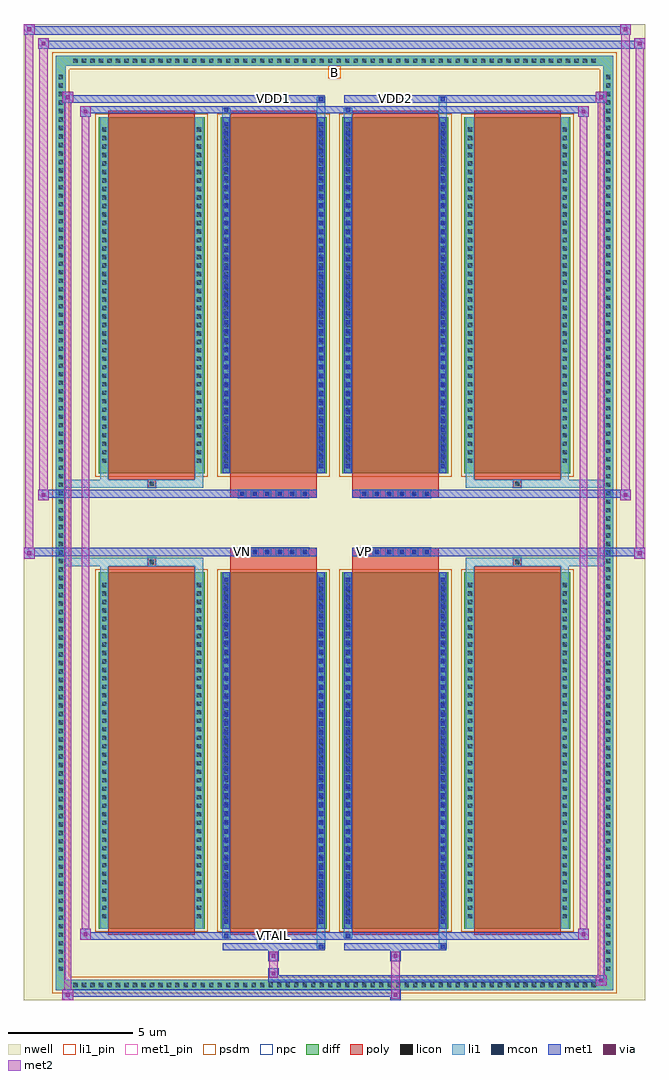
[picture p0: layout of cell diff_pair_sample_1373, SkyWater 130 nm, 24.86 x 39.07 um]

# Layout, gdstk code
import gdstk
lib = gdstk.Library(unit=1e-6, precision=5e-09)
def R(c, l, rs):  # rectangles x0, y0, x1, y1
    for r in rs: c.add(gdstk.rectangle(r[:2], r[2:], *l))
def A(c, l, x, y, w, h, nx, ny, dx, dy):  # array of equal rectangles
    R(c, l, [(x+i*dx, y+j*dy, x+i*dx+w, y+j*dy+h) for i in range(nx) for j in range(ny)])
def P(c, l, *ps):  # polygons
    for p in ps: c.add(gdstk.Polygon(p, *l))
nwell = (64, 20)
diff = (65, 20)
poly = (66, 20)
licon = (66, 44)
li1_pin = (67, 16)
li1 = (67, 20)
mcon = (67, 44)
met1_pin = (68, 16)
met1 = (68, 20)
via = (68, 44)
met2 = (69, 20)
psdm = (94, 20)
npc = (95, 20)

diff_pair_sample_1373 = lib.new_cell('diff_pair_sample_1373')
R(diff_pair_sample_1373, nwell, [(-12.43,-19.1,12.43,19.97), (-9.75,-17.29,-0.01,-0.805), (0.01,-17.29,9.75,-0.805), (-9.75,0.805,-0.01,17.29), (0.01,0.805,9.75,17.29)])
A(diff_pair_sample_1373, diff, -10.575, -18.7, 0.41, 0.41, 62, 2, 0.34, 36.99)
A(diff_pair_sample_1373, diff, -11.16, -18.055, 0.41, 0.41, 1, 106, 0, 0.34)
A(diff_pair_sample_1373, diff, 10.75, -18.055, 0.41, 0.41, 1, 106, 0, 0.34)
A(diff_pair_sample_1373, diff, -9.44, -16.245, 4.24, 14.26, 4, 2, 4.88, 18.23)
R(diff_pair_sample_1373, diff, [(-10.575,-18.7,10.575,-18.29), (-11.16,-18.055,-10.75,18.055), (10.75,-18.055,11.16,18.055), (-10.575,18.29,10.575,18.7)])
P(diff_pair_sample_1373, diff, [(11.16,18.7),(-11.16,18.7),(-11.16,-18.29),(-10.75,-18.29),(-10.75,18.29),(10.75,18.29),(10.75,-18.29),(-10.75,-18.29),(-11.16,-18.29),(-11.16,-18.7),(11.16,-18.7)])
A(diff_pair_sample_1373, poly, -9.05, -16.495, 3.46, 14.76, 4, 2, 4.88, 18.23)
A(diff_pair_sample_1373, poly, -3.855, -1.335, 0.33, 0.33, 6, 2, 0.5, 2.34)
A(diff_pair_sample_1373, poly, 1.025, -1.335, 0.33, 0.33, 6, 2, 0.5, 2.34)
R(diff_pair_sample_1373, poly, [(-7.485,-1.735,-7.155,-1.405), (-7.485,-1.735,-7.155,-1.405), (-4.17,-1.735,-0.71,-1.335), (0.71,-1.735,4.17,-1.335), (7.155,-1.735,7.485,-1.405), (7.155,-1.735,7.485,-1.405), (-4.17,-1.335,-0.71,-1.005), (0.71,-1.335,4.17,-1.005), (-4.17,1.005,-0.71,1.335), (0.71,1.005,4.17,1.335), (-4.17,1.335,-0.71,1.735), (0.71,1.335,4.17,1.735), (-7.485,1.405,-7.155,1.735), (-7.485,1.405,-7.155,1.735), (7.155,1.405,7.485,1.735), (7.155,1.405,7.485,1.735)])
A(diff_pair_sample_1373, licon, -10.455, -18.58, 0.17, 0.17, 62, 2, 0.34, 36.99)
A(diff_pair_sample_1373, licon, -11.04, -17.935, 0.17, 0.17, 1, 106, 0, 0.34)
A(diff_pair_sample_1373, licon, 10.87, -17.935, 0.17, 0.17, 1, 106, 0, 0.34)
A(diff_pair_sample_1373, licon, -9.3, -15.83, 0.17, 0.17, 1, 40, 0, 0.34)
A(diff_pair_sample_1373, licon, -5.51, -15.83, 0.17, 0.17, 1, 40, 0, 0.34)
A(diff_pair_sample_1373, licon, -4.42, -15.83, 0.17, 0.17, 1, 40, 0, 0.34)
A(diff_pair_sample_1373, licon, -0.63, -15.83, 0.17, 0.17, 1, 40, 0, 0.34)
A(diff_pair_sample_1373, licon, 0.46, -15.83, 0.17, 0.17, 1, 40, 0, 0.34)
A(diff_pair_sample_1373, licon, 4.25, -15.83, 0.17, 0.17, 1, 40, 0, 0.34)
A(diff_pair_sample_1373, licon, 5.34, -15.83, 0.17, 0.17, 1, 40, 0, 0.34)
A(diff_pair_sample_1373, licon, 9.13, -15.83, 0.17, 0.17, 1, 40, 0, 0.34)
A(diff_pair_sample_1373, licon, -3.775, -1.255, 0.17, 0.17, 6, 2, 0.5, 2.34)
A(diff_pair_sample_1373, licon, 1.105, -1.255, 0.17, 0.17, 6, 2, 0.5, 2.34)
A(diff_pair_sample_1373, licon, -9.3, 2.4, 0.17, 0.17, 1, 40, 0, 0.34)
A(diff_pair_sample_1373, licon, -5.51, 2.4, 0.17, 0.17, 1, 40, 0, 0.34)
A(diff_pair_sample_1373, licon, -4.42, 2.4, 0.17, 0.17, 1, 40, 0, 0.34)
A(diff_pair_sample_1373, licon, -0.63, 2.4, 0.17, 0.17, 1, 40, 0, 0.34)
A(diff_pair_sample_1373, licon, 0.46, 2.4, 0.17, 0.17, 1, 40, 0, 0.34)
A(diff_pair_sample_1373, licon, 4.25, 2.4, 0.17, 0.17, 1, 40, 0, 0.34)
A(diff_pair_sample_1373, licon, 5.34, 2.4, 0.17, 0.17, 1, 40, 0, 0.34)
A(diff_pair_sample_1373, licon, 9.13, 2.4, 0.17, 0.17, 1, 40, 0, 0.34)
R(diff_pair_sample_1373, licon, [(-7.405,-1.655,-7.235,-1.485), (7.235,-1.655,7.405,-1.485), (-7.405,1.485,-7.235,1.655), (7.235,1.485,7.405,1.655)])
R(diff_pair_sample_1373, li1_pin, [(-0.25,17.79,0.25,18.29)])
A(diff_pair_sample_1373, li1, -10.535, -18.66, 0.33, 0.33, 62, 2, 0.34, 36.99)
A(diff_pair_sample_1373, li1, -11.12, -18.015, 0.33, 0.33, 1, 106, 0, 0.34)
A(diff_pair_sample_1373, li1, 10.79, -18.015, 0.33, 0.33, 1, 106, 0, 0.34)
A(diff_pair_sample_1373, li1, -4.42, -16.04, 0.17, 0.17, 1, 39, 0, 0.36)
A(diff_pair_sample_1373, li1, -0.63, -16.04, 0.17, 0.17, 1, 39, 0, 0.36)
A(diff_pair_sample_1373, li1, 0.46, -16.04, 0.17, 0.17, 1, 39, 0, 0.36)
A(diff_pair_sample_1373, li1, 4.25, -16.04, 0.17, 0.17, 1, 39, 0, 0.36)
A(diff_pair_sample_1373, li1, -9.38, -15.91, 0.33, 0.33, 1, 40, 0, 0.34)
A(diff_pair_sample_1373, li1, -5.59, -15.91, 0.33, 0.33, 1, 40, 0, 0.34)
A(diff_pair_sample_1373, li1, -4.5, -15.91, 0.33, 0.33, 1, 40, 0, 0.34)
A(diff_pair_sample_1373, li1, -0.71, -15.91, 0.33, 0.33, 1, 40, 0, 0.34)
A(diff_pair_sample_1373, li1, 0.38, -15.91, 0.33, 0.33, 1, 40, 0, 0.34)
A(diff_pair_sample_1373, li1, 4.17, -15.91, 0.33, 0.33, 1, 40, 0, 0.34)
A(diff_pair_sample_1373, li1, 5.26, -15.91, 0.33, 0.33, 1, 40, 0, 0.34)
A(diff_pair_sample_1373, li1, 9.05, -15.91, 0.33, 0.33, 1, 40, 0, 0.34)
A(diff_pair_sample_1373, li1, -3.855, -1.335, 0.33, 0.33, 6, 2, 0.5, 2.34)
A(diff_pair_sample_1373, li1, 1.025, -1.335, 0.33, 0.33, 6, 2, 0.5, 2.34)
A(diff_pair_sample_1373, li1, -4.42, 2.19, 0.17, 0.17, 1, 39, 0, 0.36)
A(diff_pair_sample_1373, li1, -0.63, 2.19, 0.17, 0.17, 1, 39, 0, 0.36)
A(diff_pair_sample_1373, li1, 0.46, 2.19, 0.17, 0.17, 1, 39, 0, 0.36)
A(diff_pair_sample_1373, li1, 4.25, 2.19, 0.17, 0.17, 1, 39, 0, 0.36)
A(diff_pair_sample_1373, li1, -9.38, 2.32, 0.33, 0.33, 1, 40, 0, 0.34)
A(diff_pair_sample_1373, li1, -5.59, 2.32, 0.33, 0.33, 1, 40, 0, 0.34)
A(diff_pair_sample_1373, li1, -4.5, 2.32, 0.33, 0.33, 1, 40, 0, 0.34)
A(diff_pair_sample_1373, li1, -0.71, 2.32, 0.33, 0.33, 1, 40, 0, 0.34)
A(diff_pair_sample_1373, li1, 0.38, 2.32, 0.33, 0.33, 1, 40, 0, 0.34)
A(diff_pair_sample_1373, li1, 4.17, 2.32, 0.33, 0.33, 1, 40, 0, 0.34)
A(diff_pair_sample_1373, li1, 5.26, 2.32, 0.33, 0.33, 1, 40, 0, 0.34)
A(diff_pair_sample_1373, li1, 9.05, 2.32, 0.33, 0.33, 1, 40, 0, 0.34)
R(diff_pair_sample_1373, li1, [(-11.16,-18.7,-10.75,-18.29), (-11.16,-18.7,-10.75,-18.29), (-10.75,-18.7,10.75,-18.29), (10.75,-18.7,11.16,-18.29), (10.75,-18.7,11.16,-18.29), (-11.16,-18.29,-10.75,18.29), (10.75,-18.29,11.16,18.29), (-0.71,-17.05,-0.38,-16.245), (-0.63,-17.05,-0.46,-16.88), (4.17,-17.05,4.5,-16.245), (4.25,-17.05,4.42,-16.88), (-4.5,-16.62,-4.17,-16.245), (-4.42,-16.62,-4.25,-16.45), (0.38,-16.62,0.71,-16.245), (0.46,-16.62,0.63,-16.45), (-9.38,-16.245,-9.05,-1.985), (-5.59,-16.245,-5.26,-1.985), (-4.5,-16.245,-4.17,-1.985), (-0.71,-16.245,-0.38,-1.985), (0.38,-16.245,0.71,-1.985), (4.17,-16.245,4.5,-1.985), (5.26,-16.245,5.59,-1.985), (9.05,-16.245,9.38,-1.985), (-4.42,-16.04,-4.25,-2.19), (-0.63,-16.04,-0.46,-2.19), (0.46,-16.04,0.63,-2.19), (4.25,-16.04,4.42,-2.19), (-9.38,-1.985,-9.05,-1.405), (-5.59,-1.985,-5.26,-1.405), (5.26,-1.985,5.59,-1.405), (9.05,-1.985,9.38,-1.405), (-11.16,-1.735,-7.485,-1.405), (-9.38,-1.735,-7.485,-1.405), (-7.485,-1.735,-7.155,-1.405), (-7.155,-1.735,-5.26,-1.405), (5.26,-1.735,7.155,-1.405), (7.155,-1.735,7.485,-1.405), (7.155,-1.735,11.16,-1.405), (7.485,-1.735,9.38,-1.405), (-11.16,1.405,-7.485,1.735), (-9.38,1.405,-7.485,1.735), (-9.38,1.405,-9.05,1.985), (-7.485,1.405,-7.155,1.735), (-7.155,1.405,-5.26,1.735), (-5.59,1.405,-5.26,1.985), (5.26,1.405,7.155,1.735), (5.26,1.405,5.59,1.985), (7.155,1.405,7.485,1.735), (7.155,1.405,11.16,1.735), (7.485,1.405,9.38,1.735), (9.05,1.405,9.38,1.985), (-9.38,1.985,-9.05,16.245), (-5.59,1.985,-5.26,16.245), (-4.5,1.985,-4.17,16.245), (-0.71,1.985,-0.38,16.245), (0.38,1.985,0.71,16.245), (4.17,1.985,4.5,16.245), (5.26,1.985,5.59,16.245), (9.05,1.985,9.38,16.245), (-4.42,2.19,-4.25,16.04), (-0.63,2.19,-0.46,16.04), (0.46,2.19,0.63,16.04), (4.25,2.19,4.42,16.04), (-4.5,16.245,-4.17,16.62), (-0.71,16.245,-0.38,17.05), (0.38,16.245,0.71,16.62), (4.17,16.245,4.5,17.05), (-4.42,16.45,-4.25,16.62), (0.46,16.45,0.63,16.62), (-0.63,16.88,-0.46,17.05), (4.25,16.88,4.42,17.05), (-11.16,18.29,-10.75,18.7), (-11.16,18.29,-10.75,18.7), (-10.75,18.29,10.75,18.7), (10.75,18.29,11.16,18.7), (10.75,18.29,11.16,18.7)])
A(diff_pair_sample_1373, mcon, -4.42, -16.04, 0.17, 0.17, 1, 39, 0, 0.36)
A(diff_pair_sample_1373, mcon, -0.63, -16.04, 0.17, 0.17, 1, 39, 0, 0.36)
A(diff_pair_sample_1373, mcon, 0.46, -16.04, 0.17, 0.17, 1, 39, 0, 0.36)
A(diff_pair_sample_1373, mcon, 4.25, -16.04, 0.17, 0.17, 1, 39, 0, 0.36)
A(diff_pair_sample_1373, mcon, -3.775, -1.255, 0.17, 0.17, 6, 2, 0.5, 2.34)
A(diff_pair_sample_1373, mcon, 1.105, -1.255, 0.17, 0.17, 6, 2, 0.5, 2.34)
A(diff_pair_sample_1373, mcon, -4.42, 2.19, 0.17, 0.17, 1, 39, 0, 0.36)
A(diff_pair_sample_1373, mcon, -0.63, 2.19, 0.17, 0.17, 1, 39, 0, 0.36)
A(diff_pair_sample_1373, mcon, 0.46, 2.19, 0.17, 0.17, 1, 39, 0, 0.36)
A(diff_pair_sample_1373, mcon, 4.25, 2.19, 0.17, 0.17, 1, 39, 0, 0.36)
R(diff_pair_sample_1373, mcon, [(-0.63,-17.05,-0.46,-16.88), (4.25,-17.05,4.42,-16.88), (-4.42,-16.62,-4.25,-16.45), (0.46,-16.62,0.63,-16.45), (-4.42,16.45,-4.25,16.62), (0.46,16.45,0.63,16.62), (-0.63,16.88,-0.46,17.05), (4.25,16.88,4.42,17.05)])
R(diff_pair_sample_1373, met1_pin, [(-2.575,-16.66,-2.305,-16.39), (-3.825,-1.295,-3.555,-1.025), (1.055,-1.295,1.325,-1.025), (-2.575,16.84,-2.305,17.11), (2.305,16.84,2.575,17.11)])
A(diff_pair_sample_1373, met1, -4.48, -16.1, 0.29, 0.29, 1, 39, 0, 0.36)
A(diff_pair_sample_1373, met1, -0.69, -16.1, 0.29, 0.29, 1, 39, 0, 0.36)
A(diff_pair_sample_1373, met1, 0.4, -16.1, 0.29, 0.29, 1, 39, 0, 0.36)
A(diff_pair_sample_1373, met1, 4.19, -16.1, 0.29, 0.29, 1, 39, 0, 0.36)
A(diff_pair_sample_1373, met1, -3.835, -1.315, 0.29, 0.29, 6, 2, 0.5, 2.34)
A(diff_pair_sample_1373, met1, 1.045, -1.315, 0.29, 0.29, 6, 2, 0.5, 2.34)
A(diff_pair_sample_1373, met1, -4.48, 2.13, 0.29, 0.29, 1, 39, 0, 0.36)
A(diff_pair_sample_1373, met1, -0.69, 2.13, 0.29, 0.29, 1, 39, 0, 0.36)
A(diff_pair_sample_1373, met1, 0.4, 2.13, 0.29, 0.29, 1, 39, 0, 0.36)
A(diff_pair_sample_1373, met1, 4.19, 2.13, 0.29, 0.29, 1, 39, 0, 0.36)
R(diff_pair_sample_1373, met1, [(-10.89,-19.1,-10.46,-18.67), (2.225,-19.1,2.655,-18.67), (-10.89,-18.96,2.655,-18.67), (10.46,-18.53,10.89,-18.1), (-2.655,-18.39,10.89,-18.1), (-2.655,-18.25,-2.225,-17.82), (-2.655,-17.54,-2.225,-17.11), (2.225,-17.54,2.655,-17.11), (-4.48,-17.11,-0.4,-16.82), (-0.69,-17.11,-0.4,-16.82), (0.4,-17.11,4.48,-16.82), (4.19,-17.11,4.48,-16.82), (-10.18,-16.68,-9.75,-16.25), (-10.18,-16.68,-4.48,-16.39), (-4.48,-16.68,-4.19,-16.39), (-4.48,-16.68,-0.4,-16.39), (-0.4,-16.68,0.4,-16.39), (0.4,-16.68,0.69,-16.39), (0.4,-16.68,4.48,-16.39), (4.48,-16.68,10.18,-16.39), (9.75,-16.68,10.18,-16.25), (-4.48,-16.245,-4.19,-1.985), (-0.69,-16.245,-0.4,-1.985), (0.4,-16.245,0.69,-1.985), (4.19,-16.245,4.48,-1.985), (-12.43,-1.435,-12,-1.005), (12,-1.435,12.43,-1.005), (-12.43,-1.335,-0.71,-1.005), (-4.17,-1.335,-0.71,-1.005), (0.71,-1.335,4.17,-1.005), (0.71,-1.335,12.43,-1.005), (-11.86,0.905,-11.43,1.335), (11.43,0.905,11.86,1.335), (-11.86,1.005,-4.17,1.335), (-4.17,1.005,-0.71,1.335), (0.71,1.005,4.17,1.335), (4.17,1.005,11.86,1.335), (-4.48,1.985,-4.19,16.245), (-0.69,1.985,-0.4,16.245), (0.4,1.985,0.69,16.245), (4.19,1.985,4.48,16.245), (-10.18,16.25,-9.75,16.68), (9.75,16.25,10.18,16.68), (-10.18,16.39,-4.48,16.68), (-4.48,16.39,-4.19,16.68), (-4.48,16.39,-0.4,16.68), (-0.4,16.39,0.4,16.68), (0.4,16.39,0.69,16.68), (0.4,16.39,4.48,16.68), (4.48,16.39,10.18,16.68), (-10.89,16.82,-10.46,17.25), (-10.89,16.82,-4.48,17.11), (-4.48,16.82,-0.4,17.11), (-0.69,16.82,-0.4,17.11), (0.4,16.82,4.48,17.11), (4.19,16.82,4.48,17.11), (4.48,16.82,10.89,17.11), (10.46,16.82,10.89,17.25), (-11.86,18.97,-11.43,19.4), (-11.86,18.97,-9.75,19.3), (-9.75,18.97,9.75,19.3), (9.75,18.97,12.43,19.3), (12,18.97,12.43,19.4), (-12.43,19.54,-12,19.97), (-12.43,19.54,-9.75,19.87), (-9.75,19.54,9.75,19.87), (9.75,19.54,11.86,19.87), (11.43,19.54,11.86,19.97)])
R(diff_pair_sample_1373, via, [(-10.75,-18.96,-10.6,-18.81), (2.365,-18.96,2.515,-18.81), (10.6,-18.39,10.75,-18.24), (-2.515,-18.11,-2.365,-17.96), (-2.515,-17.4,-2.365,-17.25), (2.365,-17.4,2.515,-17.25), (-10.04,-16.54,-9.89,-16.39), (9.89,-16.54,10.04,-16.39), (-12.29,-1.295,-12.14,-1.145), (12.14,-1.295,12.29,-1.145), (-11.72,1.045,-11.57,1.195), (11.57,1.045,11.72,1.195), (-10.04,16.39,-9.89,16.54), (9.89,16.39,10.04,16.54), (-10.75,16.96,-10.6,17.11), (10.6,16.96,10.75,17.11), (-11.72,19.11,-11.57,19.26), (12.14,19.11,12.29,19.26), (-12.29,19.68,-12.14,19.83), (11.57,19.68,11.72,19.83)])
R(diff_pair_sample_1373, met2, [(-10.89,-19.1,-10.46,-18.67), (-10.82,-19.1,-10.53,17.25), (-10.53,-19.1,-10.46,-18.67), (-10.84,-19.05,-10.51,-18.72), (2.275,-19.05,2.605,-18.72), (2.275,-18.72,2.605,-17.49), (10.46,-18.53,10.89,-18.1), (10.53,-18.53,10.82,17.25), (10.82,-18.53,10.89,-18.1), (10.51,-18.48,10.84,-18.15), (-2.605,-18.2,-2.275,-17.87), (-2.605,-17.87,-2.275,-17.49), (-2.605,-17.49,-2.275,-17.16), (2.275,-17.49,2.605,-17.16), (-10.18,-16.68,-9.75,-16.25), (-10.11,-16.68,-9.82,16.68), (-9.82,-16.68,-9.75,-16.25), (9.75,-16.68,10.18,-16.25), (9.82,-16.68,10.11,16.68), (10.11,-16.68,10.18,-16.25), (-10.13,-16.63,-9.8,-16.3), (9.8,-16.63,10.13,-16.3), (-12.43,-1.435,-12,-1.005), (-12.38,-1.435,-12.05,19.97), (-12.05,-1.435,-12,-1.005), (12,-1.435,12.43,-1.005), (12.05,-1.435,12.38,19.4), (12.38,-1.435,12.43,-1.005), (-12.38,-1.385,-12.05,-1.055), (12.05,-1.385,12.38,-1.055), (-11.86,0.905,-11.43,1.335), (-11.81,0.905,-11.48,19.4), (-11.48,0.905,-11.43,1.335), (11.43,0.905,11.86,1.335), (11.48,0.905,11.81,19.97), (11.81,0.905,11.86,1.335), (-11.81,0.955,-11.48,1.285), (11.48,0.955,11.81,1.285), (-10.18,16.25,-9.75,16.68), (-9.82,16.25,-9.75,16.68), (9.75,16.25,10.18,16.68), (10.11,16.25,10.18,16.68), (-10.13,16.3,-9.8,16.63), (9.8,16.3,10.13,16.63), (-10.89,16.82,-10.46,17.25), (-10.53,16.82,-10.46,17.25), (10.46,16.82,10.89,17.25), (10.82,16.82,10.89,17.25), (-10.84,16.87,-10.51,17.2), (10.51,16.87,10.84,17.2), (-11.86,18.97,-11.43,19.4), (-11.48,18.97,-11.43,19.4), (12,18.97,12.43,19.4), (12.38,18.97,12.43,19.4), (-11.81,19.02,-11.48,19.35), (12.05,19.02,12.38,19.35), (-12.43,19.54,-12,19.97), (-12.05,19.54,-12,19.97), (11.43,19.54,11.86,19.97), (11.81,19.54,11.86,19.97), (-12.38,19.59,-12.05,19.92), (11.48,19.59,11.81,19.92)])
A(diff_pair_sample_1373, psdm, -9.57, -16.375, 4.5, 14.52, 4, 2, 4.88, 18.23)
P(diff_pair_sample_1373, psdm, [(11.29,18.83),(-11.29,18.83),(-11.29,-18.16),(-10.62,-18.16),(-10.62,18.16),(10.62,18.16),(10.62,-18.16),(-10.62,-18.16),(-11.29,-18.16),(-11.29,-18.83),(11.29,-18.83)])
A(diff_pair_sample_1373, npc, -3.875, -1.355, 0.37, 0.37, 6, 2, 0.5, 2.34)
A(diff_pair_sample_1373, npc, 1.005, -1.355, 0.37, 0.37, 6, 2, 0.5, 2.34)
R(diff_pair_sample_1373, npc, [(-7.505,-1.755,-7.135,-1.385), (7.135,-1.755,7.505,-1.385), (-3.875,-1.355,-3.005,-0.985), (-3.875,-1.355,-3.005,-0.985), (-3.375,-1.355,-2.505,-0.985), (-3.375,-1.355,-2.505,-0.985), (-2.875,-1.355,-2.005,-0.985), (-2.875,-1.355,-2.005,-0.985), (-2.375,-1.355,-1.505,-0.985), (-2.375,-1.355,-1.505,-0.985), (-1.875,-1.355,-1.005,-0.985), (-1.875,-1.355,-1.005,-0.985), (1.005,-1.355,1.875,-0.985), (1.005,-1.355,1.875,-0.985), (1.505,-1.355,2.375,-0.985), (1.505,-1.355,2.375,-0.985), (2.005,-1.355,2.875,-0.985), (2.005,-1.355,2.875,-0.985), (2.505,-1.355,3.375,-0.985), (2.505,-1.355,3.375,-0.985), (3.005,-1.355,3.875,-0.985), (3.005,-1.355,3.875,-0.985), (-3.875,0.985,-3.005,1.355), (-3.875,0.985,-3.005,1.355), (-3.375,0.985,-2.505,1.355), (-3.375,0.985,-2.505,1.355), (-2.875,0.985,-2.005,1.355), (-2.875,0.985,-2.005,1.355), (-2.375,0.985,-1.505,1.355), (-2.375,0.985,-1.505,1.355), (-1.875,0.985,-1.005,1.355), (-1.875,0.985,-1.005,1.355), (1.005,0.985,1.875,1.355), (1.005,0.985,1.875,1.355), (1.505,0.985,2.375,1.355), (1.505,0.985,2.375,1.355), (2.005,0.985,2.875,1.355), (2.005,0.985,2.875,1.355), (2.505,0.985,3.375,1.355), (2.505,0.985,3.375,1.355), (3.005,0.985,3.875,1.355), (3.005,0.985,3.875,1.355), (-7.505,1.385,-7.135,1.755), (7.135,1.385,7.505,1.755)])
diff_pair_sample_1373.add(gdstk.Label('VTAIL', (-2.44,-16.525), layer=68, texttype=5))
diff_pair_sample_1373.add(gdstk.Label('VN', (-3.69,-1.16), layer=68, texttype=5))
diff_pair_sample_1373.add(gdstk.Label('VP', (1.19,-1.16), layer=68, texttype=5))
diff_pair_sample_1373.add(gdstk.Label('B', (0,18.04), layer=67, texttype=5))
diff_pair_sample_1373.add(gdstk.Label('VDD2', (2.44,16.975), layer=68, texttype=5))
diff_pair_sample_1373.add(gdstk.Label('VDD1', (-2.44,16.975), layer=68, texttype=5))

lib.write_gds('diff_pair_sample_1373.gds')
